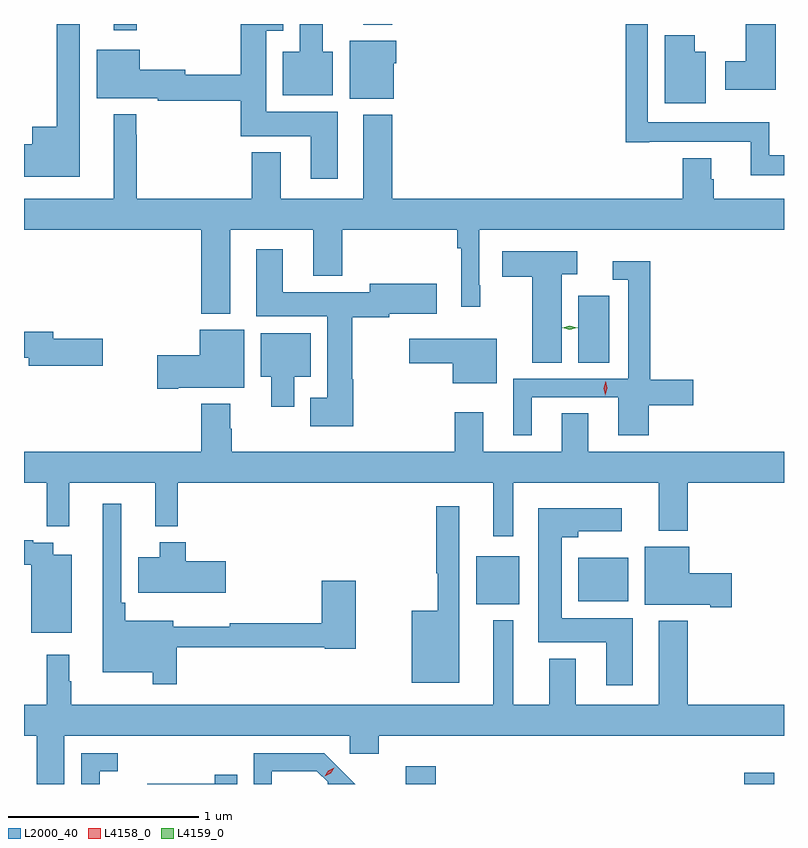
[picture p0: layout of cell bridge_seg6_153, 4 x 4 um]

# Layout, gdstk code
import gdstk
lib = gdstk.Library(unit=1e-6, precision=1e-09)
def R(c, l, rs):  # rectangles x0, y0, x1, y1
    for r in rs: c.add(gdstk.rectangle(r[:2], r[2:], *l))
def P(c, l, *ps):  # polygons
    for p in ps: c.add(gdstk.Polygon(p, *l))
L2000_40 = (2000, 40)
L4158_0 = (4158, 0)
L4159_0 = (4159, 0)

bridge_seg6_153 = lib.new_cell('bridge_seg6_153')
R(bridge_seg6_153, L2000_40, [(623.759,937.759,623.917,937.852), (625.543,937.759,625.699,937.819), (624.131,938.705,624.358,938.959), (624.668,938.72,624.931,938.95), (624.668,939.976,624.832,940.33), (622.223,941.727,622.345,941.759), (623.537,941.756,623.69,941.759)])
P(bridge_seg6_153, L2000_40, [(623.401,941.296),(623.026,941.296),(623.026,941.723),(623.116,941.723),(623.116,941.759),(622.892,941.759),(622.892,941.492),(622.6,941.492),(622.6,941.517),(622.36,941.517),(622.36,941.623),(622.133,941.623),(622.133,941.369),(622.456,941.369),(622.456,941.356),(622.892,941.356),(622.892,941.168),(623.261,941.168),(623.261,940.944),(623.401,940.944)],
  [(625.708,941.759),(625.55,941.759),(625.55,941.562),(625.443,941.562),(625.443,941.414),(625.708,941.414)],
  [(622.045,941.759),(621.924,941.759),(621.924,941.218),(621.794,941.218),(621.794,941.126),(621.751,941.126),(621.751,940.955),(622.045,940.955)],
  [(623.377,941.614),(623.323,941.614),(623.323,941.759),(623.201,941.759),(623.201,941.614),(623.114,941.614),(623.114,941.384),(623.377,941.384)],
  [(625.751,941.068),(625.674,941.068),(625.674,941.242),(625.035,941.242),(625.035,941.759),(624.919,941.759),(624.919,941.136),(625.042,941.136),(625.042,941.138),(625.577,941.138),(625.577,940.964),(625.751,940.964)],
  [(625.339,941.614),(625.282,941.614),(625.282,941.701),(625.124,941.701),(625.124,941.342),(625.339,941.342)],
  [(623.698,941.553),(623.71,941.553),(623.71,941.671),(623.465,941.671),(623.465,941.366),(623.698,941.366)],
  [(622.837,940.676),(623.273,940.676),(623.273,940.433),(623.426,940.433),(623.426,940.676),(624.031,940.676),(624.031,940.58),(624.051,940.58),(624.051,940.272),(624.152,940.272),(624.152,940.384),(624.147,940.384),(624.147,940.676),(625.751,940.676),(625.751,940.84),(625.382,940.84),(625.382,940.941),(625.369,940.941),(625.369,941.053),(625.217,941.053),(625.217,940.84),(623.69,940.84),(623.69,941.281),(623.537,941.281),(623.537,940.84),(623.101,940.84),(623.101,941.083),(622.949,941.083),(622.949,940.84),(622.345,940.84),(622.345,941.177),(622.343,941.177),(622.343,941.284),(622.223,941.284),(622.223,940.84),(621.751,940.84),(621.751,940.676),(622.685,940.676),(622.685,940.235),(622.837,940.235)],
  [(623.483,939.889),(623.478,939.889),(623.478,940.216),(623.674,940.216),(623.674,940.235),(623.923,940.235),(623.923,940.393),(623.57,940.393),(623.57,940.348),(623.113,940.348),(623.113,940.573),(622.973,940.573),(622.973,940.22),(623.348,940.22),(623.348,939.793),(623.258,939.793),(623.258,939.641),(623.483,939.641)],
  [(624.58,940.442),(624.664,940.442),(624.664,940.564),(624.267,940.564),(624.267,940.43),(624.425,940.43),(624.425,939.976),(624.58,939.976)],
  [(624.424,939.795),(624.878,939.795),(624.878,939.594),(625.04,939.594),(625.04,939.752),(625.273,939.752),(625.273,939.887),(625.046,939.887),(625.046,940.51),(624.849,940.51),(624.849,940.413),(624.93,940.413),(624.93,939.891),(624.326,939.891),(624.326,939.594),(624.424,939.594)],
  [(622.564,939.845),(622.909,939.845),(622.909,940.15),(622.676,940.15),(622.676,940.016),(622.452,940.016),(622.452,939.838),(622.564,939.838)],
  [(622.165,940.103),(621.904,940.103),(621.904,940.139),(621.751,940.139),(621.751,940.003),(621.776,940.003),(621.776,939.961),(622.165,939.961)],
  [(623.173,939.902),(623.26,939.902),(623.26,940.132),(622.997,940.132),(622.997,939.902),(623.051,939.902),(623.051,939.744),(623.173,939.744)],
  [(624.238,940.102),(623.778,940.102),(623.778,939.973),(624.008,939.973),(624.008,939.869),(624.238,939.869)],
  [(624.325,939.344),(625.091,939.344),(625.091,939.092),(625.244,939.092),(625.244,939.344),(625.751,939.344),(625.751,939.508),(624.721,939.508),(624.721,939.71),(624.581,939.71),(624.581,939.508),(624.169,939.508),(624.169,939.715),(624.017,939.715),(624.017,939.508),(622.845,939.508),(622.845,939.629),(622.837,939.629),(622.837,939.76),(622.685,939.76),(622.685,939.508),(621.751,939.508),(621.751,939.344),(621.871,939.344),(621.871,939.115),(621.989,939.115),(621.989,939.344),(622.442,939.344),(622.442,939.116),(622.559,939.116),(622.559,939.344),(624.221,939.344),(624.221,939.063),(624.325,939.063)],
  [(622.556,938.478),(623.334,938.478),(623.334,938.47),(623.496,938.47),(623.496,938.83),(623.318,938.83),(623.318,938.606),(622.833,938.606),(622.833,938.587),(622.537,938.587),(622.537,938.617),(622.283,938.617),(622.283,938.713),(622.263,938.713),(622.263,939.235),(622.166,939.235),(622.166,938.348),(622.428,938.348),(622.428,938.283),(622.556,938.283)],
  [(624.043,939.22),(623.922,939.22),(623.922,938.867),(623.929,938.867),(623.929,938.671),(623.792,938.671),(623.792,938.291),(624.043,938.291)],
  [(624.955,938.632),(624.58,938.632),(624.58,939.059),(624.667,939.059),(624.667,939.089),(624.898,939.089),(624.898,939.211),(624.458,939.211),(624.458,938.504),(624.815,938.504),(624.815,938.28),(624.955,938.28)],
  [(622.003,938.965),(621.904,938.965),(621.904,939.03),(621.8,939.03),(621.8,939.043),(621.751,939.043),(621.751,938.914),(621.788,938.914),(621.788,938.555),(622.003,938.555)],
  [(622.813,938.931),(622.601,938.931),(622.601,939.031),(622.466,939.031),(622.466,938.953),(622.352,938.953),(622.352,938.765),(622.813,938.765)],
  [(625.477,938.868),(625.252,938.868),(625.252,939.007),(625.019,939.007),(625.019,938.702),(625.364,938.702),(625.364,938.69),(625.477,938.69)],
  [(621.964,938.012),(623.466,938.012),(623.466,937.917),(623.618,937.917),(623.618,938.012),(625.751,938.012),(625.751,938.176),(625.244,938.176),(625.244,938.617),(625.091,938.617),(625.091,938.176),(624.655,938.176),(624.655,938.419),(624.515,938.419),(624.515,938.176),(624.325,938.176),(624.325,938.62),(624.221,938.62),(624.221,938.176),(622,938.176),(622,938.3),(621.988,938.3),(621.988,938.44),(621.871,938.44),(621.871,938.176),(621.751,938.176),(621.751,938.012),(621.817,938.012),(621.817,937.759),(621.964,937.759)],
  [(622.149,937.825),(622.245,937.825),(622.245,937.92),(622.053,937.92),(622.053,937.759),(622.149,937.759)],
  [(623.055,937.827),(623.292,937.827),(623.349,937.77),(623.349,937.759),(623.495,937.759),(623.416,937.837),(623.332,937.92),(622.959,937.92),(622.959,937.759),(623.055,937.759)],
  [(622.874,937.807),(622.756,937.807),(622.756,937.76),(622.399,937.76),(622.399,937.759),(622.874,937.759)])
P(bridge_seg6_153, L4158_0, [(623.335,937.8),(623.335,937.8),(623.353,937.83),(623.384,937.845),(623.384,937.845),(623.384,937.844),(623.366,937.815),(623.335,937.8)],
  [(624.811,939.806),(624.81,939.807),(624.802,939.843),(624.813,939.879),(624.813,939.879),(624.814,939.879),(624.822,939.842),(624.811,939.807)])
P(bridge_seg6_153, L4159_0, [(624.624,940.15),(624.584,940.16),(624.584,940.16),(624.584,940.16),(624.624,940.17),(624.664,940.16),(624.665,940.16),(624.664,940.16)])

lib.write_gds('bridge_seg6_153.gds')
